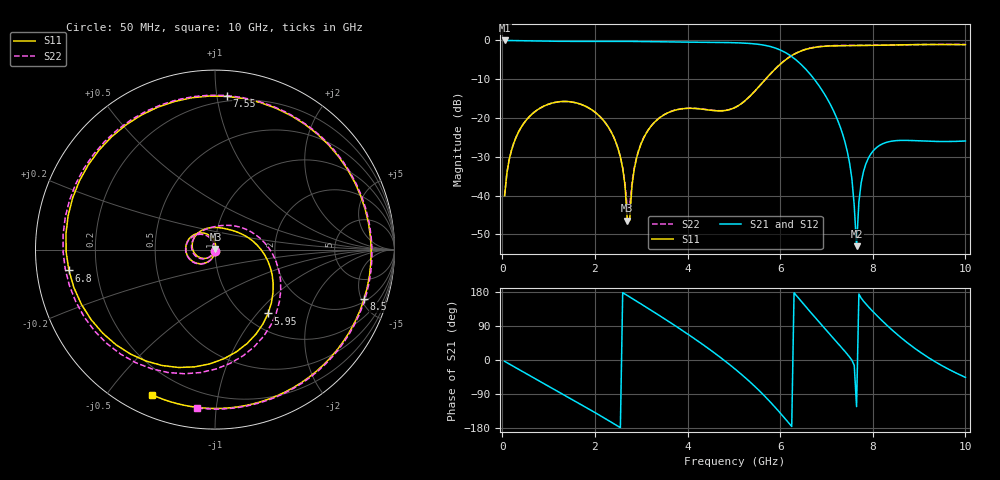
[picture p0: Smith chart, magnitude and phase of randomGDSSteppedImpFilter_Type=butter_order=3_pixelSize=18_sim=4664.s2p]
! freq	dB(S11)	phase(S11)	dB(S12)	phase(S12)
!  dB(S21)	phase(S21)	dB(S22)	phase(S22)
!S-par simulation data
#  GHz  S  DB  R 50
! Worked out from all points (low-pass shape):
!   200 points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, 50 MHz to 10 GHz, reference 50 ohm
!   highest |S21| = -0.01 dB at 50 MHz (marker M1); lowest = -53.1 dB at 7.65 GHz (marker M2)
!   |S21| within 3 dB of the highest: start of sweep to 6.095 GHz
!   lowest |S11| = -46.5 dB at 2.7 GHz (marker M3), VSWR 1.01, Z = 50.3 + j0.394 ohm
!   |S11| at or under -10 dB: start of sweep to 5.684 GHz
!   |S22| runs from -43.3 to -1.0 dB; largest |S21 - S12| = 0
!   S11 on the Smith chart (normalised r, x): 50 MHz: 1.00, -0.02; 5.95 GHz: 1.26, -1.14; 6.8 GHz: 0.10, -0.07; 7.55 GHz: 0.17, +1.06; 8.5 GHz: 2.21, -5.25; 10 GHz: 0.09, -0.65
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0.05  -40.04 -92.4  -0.01 -3.5  -0.01 -3.5  -40.04 -92.3
0.55  -20.09 -129.0  -0.09 -38.2  -0.09 -38.2  -20.09 -128.0
1.75  -16.72 146.8  -0.24 -120.9  -0.24 -120.9  -16.72 150.9
2.45  -26.17 94.6  -0.22 -171.2  -0.22 -171.2  -26.17 105.9
2.7  -46.46 55.6  -0.24 170.3  -0.24 170.3  -43.31 135.5
2.95  -28.21 -119.5  -0.27 151.4  -0.27 151.4  -28.08 -123.7
3.4  -19.93 -156.4  -0.35 116.8  -0.35 116.8  -19.89 -152.1
4.15  -17.54 139.8  -0.45 56.2  -0.45 56.2  -17.50 152.6
5.05  -17.14 52.4  -0.61 -26.2  -0.61 -26.2  -17.14 74.4
5.55  -11.80 -0.2  -1.03 -81.1  -1.03 -81.1  -11.82 15.0
5.95  -6.70 -50.2  -2.20 -132.7  -2.20 -132.7  -6.70 -39.2
6.35  -3.26 -107.1  -5.10 170.1  -5.10 170.1  -3.23 -96.7
6.7  -1.89 -157.7  -9.45 120.0  -9.45 120.0  -1.84 -145.7
6.8  -1.70 -171.9  -11.02 105.9  -11.02 105.9  -1.64 -159.3
7.55  -1.35 85.7  -35.78 -0.8  -35.78 -0.8  -1.30 104.3
7.65  -1.34 72.9  -53.05 -123.0  -53.05 -123.0  -1.30 92.0
7.7  -1.33 66.6  -41.66 173.9  -41.66 173.9  -1.30 86.0
7.85  -1.31 48.4  -31.87 148.1  -31.87 148.1  -1.30 68.3
8.35  -1.19 -4.8  -26.11 86.6  -26.11 86.6  -1.20 14.8
8.5  -1.16 -18.5  -25.84 70.3  -25.84 70.3  -1.17 0.8
9.2  -1.06 -70.2  -25.99 6.5  -25.99 6.5  -1.04 -52.8
10  -1.09 -113.4  -25.93 -45.9  -25.93 -45.9  -1.04 -96.5
